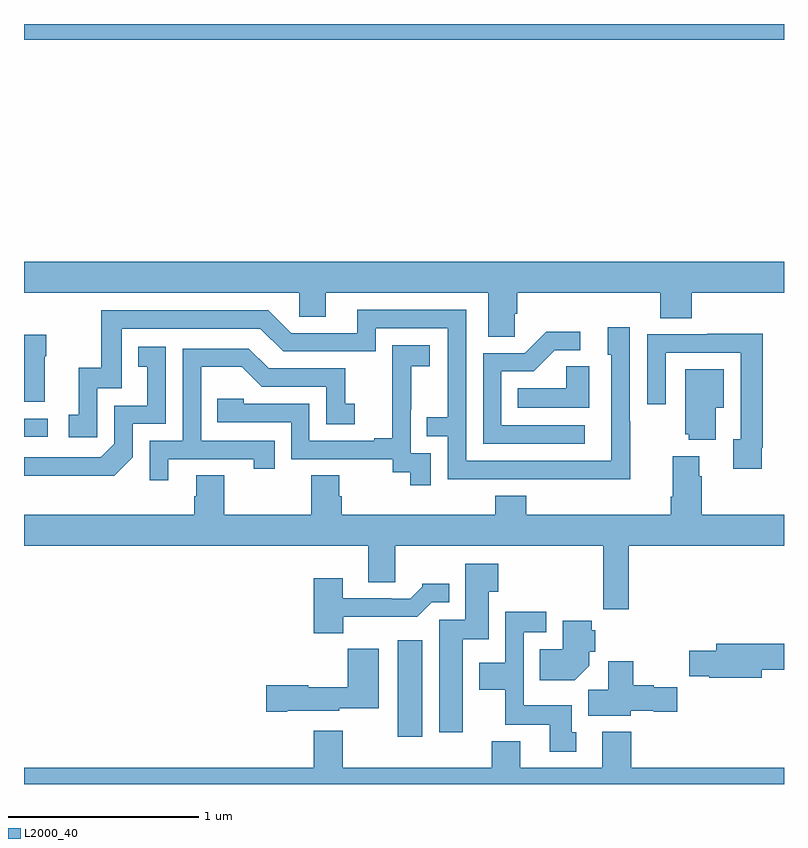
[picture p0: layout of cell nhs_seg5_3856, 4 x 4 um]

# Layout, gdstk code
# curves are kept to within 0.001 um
import gdstk
lib = gdstk.Library(unit=1e-6, precision=1e-09)
def R(c, l, rs):  # rectangles x0, y0, x1, y1
    for r in rs: c.add(gdstk.rectangle(r[:2], r[2:], *l))
def P(c, l, *ps):  # polygons
    for p in ps: c.add(gdstk.Polygon(p, *l))
L2000_40 = (2000, 40)

nhs_seg5_3856 = lib.new_cell('nhs_seg5_3856')
R(nhs_seg5_3856, L2000_40, [(338.966,897.048,339.097,897.556), (337,898.626,337.126,898.722), (337,900.716,341,900.799)])
P(nhs_seg5_3856, L2000_40, [(339.582,899.275),(339.596,899.275),(339.596,899.384),(340.349,899.384),(340.349,899.251),(340.514,899.251),(340.514,899.384),(341,899.384),(341,899.548),(337,899.548),(337,899.384),(338.448,899.384),(338.448,899.257),(338.587,899.257),(338.587,899.384),(339.443,899.384),(339.443,899.152),(339.582,899.152)],
  [(340.191,898.709),(340.188,898.709),(340.188,899.203),(340.073,899.203),(340.073,899.058),(340.092,899.058),(340.092,898.5),(339.327,898.5),(339.327,899.295),(338.753,899.295),(338.753,899.172),(338.406,899.172),(338.286,899.292),(337.407,899.292),(337.407,898.99),(337.289,898.99),(337.289,898.743),(337.236,898.743),(337.236,898.623),(337.386,898.623),(337.386,898.881),(337.515,898.881),(337.515,899.196),(338.244,899.196),(338.364,899.076),(338.85,899.076),(338.85,899.199),(339.231,899.199),(339.231,898.73),(339.121,898.73),(339.121,898.629),(339.231,898.629),(339.231,898.404),(340.191,898.403)],
  [(339.952,898.686),(339.513,898.686),(339.513,898.971),(339.682,898.971),(339.793,899.082),(339.928,899.082),(339.928,899.18),(339.749,899.18),(339.636,899.067),(339.417,899.067),(339.417,898.59),(339.952,898.59)],
  [(340.882,898.57),(340.889,898.57),(340.889,899.168),(340.597,899.168),(340.597,899.166),(340.281,899.166),(340.281,898.797),(340.377,898.797),(340.377,899.07),(340.773,899.07),(340.773,898.614),(340.733,898.614),(340.733,898.458),(340.882,898.458)],
  [(337.108,899.051),(337.116,899.051),(337.116,899.164),(337,899.164),(337,898.811),(337.108,898.811)],
  [(339.141,898.539),(339.036,898.539),(339.036,898.769),(339.038,898.769),(339.038,898.997),(339.136,898.997),(339.136,899.107),(338.938,899.107),(338.938,898.901),(338.939,898.901),(338.939,898.618),(338.843,898.618),(338.843,898.605),(338.502,898.605),(338.502,898.8),(338.157,898.8),(338.157,898.827),(338.017,898.827),(338.017,898.704),(338.406,898.704),(338.406,898.509),(338.94,898.509),(338.94,898.441),(339.033,898.441),(339.033,898.371),(339.141,898.371)],
  [(337.572,898.518),(337.572,898.695),(337.746,898.695),(337.746,899.101),(337.6,899.101),(337.6,898.995),(337.649,898.995),(337.649,898.791),(337.476,898.791),(337.476,898.59),(337.404,898.518),(337,898.518),(337,898.422),(337.066,898.421),(337.474,898.421)],
  [(337.759,898.509),(338.21,898.509),(338.21,898.458),(338.321,898.458),(338.321,898.605),(337.932,898.605),(337.932,898.994),(338.146,898.994),(338.25,898.89),(338.592,898.89),(338.592,898.692),(338.74,898.692),(338.74,898.801),(338.691,898.801),(338.691,898.986),(338.287,898.986),(338.182,899.091),(337.836,899.091),(337.836,898.605),(337.662,898.605),(337.662,898.398),(337.759,898.398)],
  [(339.976,898.997),(339.855,898.997),(339.855,898.882),(339.598,898.882),(339.598,898.778),(339.976,898.778)],
  [(340.642,898.778),(340.684,898.778),(340.684,898.981),(340.481,898.981),(340.481,898.641),(340.499,898.641),(340.499,898.61),(340.642,898.61)],
  [(340.184,898.052),(341,898.052),(341,898.216),(340.568,898.216),(340.568,898.418),(340.555,898.418),(340.555,898.525),(340.415,898.525),(340.415,898.312),(340.403,898.312),(340.403,898.216),(339.644,898.216),(339.644,898.315),(339.479,898.315),(339.479,898.216),(338.672,898.216),(338.672,898.314),(338.659,898.314),(338.659,898.424),(338.512,898.424),(338.512,898.216),(338.055,898.216),(338.055,898.424),(337.907,898.424),(337.907,898.314),(337.895,898.314),(337.895,898.216),(337,898.216),(337,898.052),(338.813,898.052),(338.813,897.862),(338.953,897.862),(338.953,898.052),(340.048,898.052),(340.048,897.72),(340.184,897.72)],
  [(339.31,897.56),(339.445,897.56),(339.445,897.811),(339.497,897.811),(339.497,897.958),(339.323,897.958),(339.323,897.663),(339.185,897.663),(339.185,897.072),(339.31,897.072)],
  [(338.68,897.68),(339.071,897.68),(339.147,897.756),(339.238,897.756),(339.238,897.853),(339.096,897.853),(339.096,897.838),(339.032,897.774),(338.933,897.774),(338.933,897.777),(338.677,897.777),(338.677,897.883),(338.525,897.883),(338.525,897.593),(338.68,897.593)],
  [(339.907,897.072),(339.883,897.072),(339.883,897.214),(339.63,897.214),(339.63,897.597),(339.748,897.597),(339.748,897.706),(339.534,897.706),(339.534,897.436),(339.395,897.436),(339.395,897.296),(339.532,897.296),(339.532,897.11),(339.767,897.11),(339.767,896.97),(339.907,896.97)],
  [(339.976,897.422),(339.976,897.495),(340.007,897.495),(340.007,897.609),(339.989,897.609),(339.989,897.658),(339.836,897.658),(339.836,897.508),(339.715,897.508),(339.715,897.344),(339.898,897.344)],
  [(340.882,897.4),(341,897.4),(341,897.536),(340.643,897.536),(340.643,897.5),(340.501,897.5),(340.501,897.366),(340.606,897.366),(340.606,897.358),(340.882,897.358)],
  [(338.386,897.185),(338.658,897.185),(338.658,897.197),(338.866,897.197),(338.866,897.511),(338.704,897.511),(338.704,897.307),(338.496,897.307),(338.496,897.32),(338.274,897.32),(338.274,897.178),(338.386,897.178)],
  [(340.194,897.185),(340.314,897.185),(340.314,897.178),(340.439,897.178),(340.439,897.308),(340.314,897.308),(340.314,897.32),(340.206,897.32),(340.206,897.445),(340.076,897.445),(340.076,897.296),(339.971,897.296),(339.971,897.158),(340.194,897.158)],
  [(341,896.884),(340.196,896.884),(340.196,897.073),(340.043,897.073),(340.043,896.884),(339.613,896.884),(339.613,897.025),(339.461,897.025),(339.461,896.884),(338.677,896.884),(338.677,897.079),(338.525,897.079),(338.525,896.884),(337,896.884),(337,896.799),(341,896.799)])

lib.write_gds('nhs_seg5_3856.gds')
